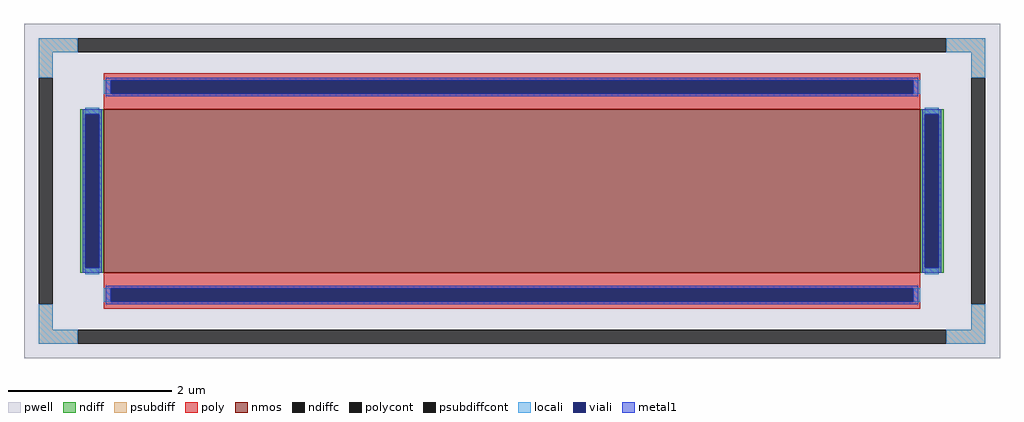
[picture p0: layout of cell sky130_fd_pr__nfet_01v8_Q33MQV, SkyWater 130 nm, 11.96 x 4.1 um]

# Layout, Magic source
magic
tech sky130A
<< pwell >>
rect -598 -205 598 205
<< nmos >>
rect -500 -100 500 100
<< ndiff >>
rect -529 94 -500 100
rect -529 -94 -523 94
rect -506 -94 -500 94
rect -529 -100 -500 -94
rect 500 94 529 100
rect 500 -94 506 94
rect 523 -94 529 94
rect 500 -100 529 -94
<< ndiffc >>
rect -523 -94 -506 94
rect 506 -94 523 94
<< psubdiff >>
rect -580 170 -532 187
rect 532 170 580 187
rect -580 139 -563 170
rect 563 139 580 170
rect -580 -170 -563 -139
rect 563 -170 580 -139
rect -580 -187 -532 -170
rect 532 -187 580 -170
<< psubdiffcont >>
rect -532 170 532 187
rect -580 -139 -563 139
rect 563 -139 580 139
rect -532 -187 532 -170
<< poly >>
rect -500 136 500 144
rect -500 119 -492 136
rect 492 119 500 136
rect -500 100 500 119
rect -500 -119 500 -100
rect -500 -136 -492 -119
rect 492 -136 500 -119
rect -500 -144 500 -136
<< polycont >>
rect -492 119 492 136
rect -492 -136 492 -119
<< locali >>
rect -580 170 -532 187
rect 532 170 580 187
rect -580 139 -563 170
rect 563 139 580 170
rect -500 119 -492 136
rect 492 119 500 136
rect -523 94 -506 102
rect -523 -102 -506 -94
rect 506 94 523 102
rect 506 -102 523 -94
rect -500 -136 -492 -119
rect 492 -136 500 -119
rect -580 -170 -563 -139
rect 563 -170 580 -139
rect -580 -187 -532 -170
rect 532 -187 580 -170
<< viali >>
rect -492 119 492 136
rect -523 -94 -506 94
rect 506 -94 523 94
rect -492 -136 492 -119
<< metal1 >>
rect -498 136 498 139
rect -498 119 -492 136
rect 492 119 498 136
rect -498 116 498 119
rect -526 94 -503 100
rect -526 -94 -523 94
rect -506 -94 -503 94
rect -526 -100 -503 -94
rect 503 94 526 100
rect 503 -94 506 94
rect 523 -94 526 94
rect 503 -100 526 -94
rect -498 -119 498 -116
rect -498 -136 -492 -119
rect 492 -136 498 -119
rect -498 -139 498 -136
<< properties >>
string FIXED_BBOX -571 -178 571 178
string gencell sky130_fd_pr__nfet_01v8
string library sky130
string parameters w 2.0 l 10.0 m 1 nf 1 diffcov 100 polycov 100 guard 1 glc 1 grc 1 gtc 1 gbc 1 tbcov 100 rlcov 100 topc 1 botc 1 poverlap 0 doverlap 1 lmin 0.15 wmin 0.42 compatible {sky130_fd_pr__nfet_01v8 sky130_fd_pr__nfet_01v8_lvt  sky130_fd_bs_flash__special_sonosfet_star  sky130_fd_pr__nfet_g5v0d10v5 sky130_fd_pr__nfet_05v0_nvt  sky130_fd_pr__nfet_03v3_nvt} full_metal 1 viasrc 100 viadrn 100 viagate 100 viagb 0 viagr 0 viagl 0 viagt 0
<< end >>
